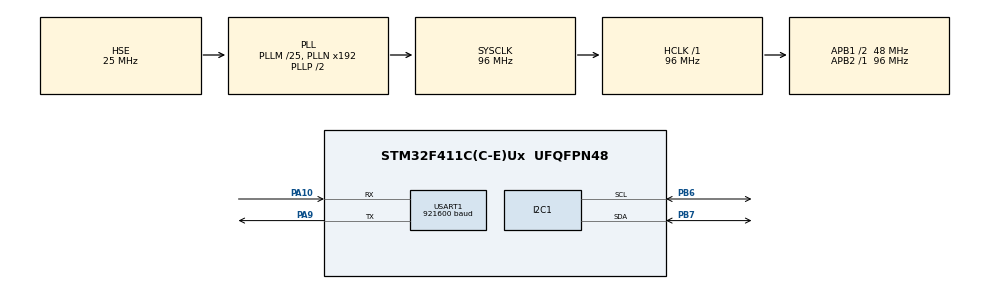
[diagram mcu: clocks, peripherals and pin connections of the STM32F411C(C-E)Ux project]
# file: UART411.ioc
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I2C1.I2C_Mode=I2C_Fast
Mcu.Family=STM32F4
Mcu.Name=STM32F411C(C-E)Ux
Mcu.Package=UFQFPN48
NVIC.PriorityGroup=NVIC_PRIORITYGROUP_4
PA10.Mode=Asynchronous
PA10.Signal=USART1_RX
PA13.Mode=Serial_Wire
PA13.Signal=SYS_JTMS-SWDIO
PA14.Mode=Serial_Wire
PA14.Signal=SYS_JTCK-SWCLK
PA9.Mode=Asynchronous
PA9.Signal=USART1_TX
PB6.Mode=I2C
PB6.Signal=I2C1_SCL
PB7.Mode=I2C
PB7.Signal=I2C1_SDA
PC14-OSC32_IN.Mode=LSE-External-Oscillator
PC14-OSC32_IN.Signal=RCC_OSC32_IN
PC15-OSC32_OUT.Mode=LSE-External-Oscillator
PC15-OSC32_OUT.Signal=RCC_OSC32_OUT
PH0\ -\ OSC_IN.Mode=HSE-External-Oscillator
PH0\ -\ OSC_IN.Signal=RCC_OSC_IN
PH1\ -\ OSC_OUT.Mode=HSE-External-Oscillator
PH1\ -\ OSC_OUT.Signal=RCC_OSC_OUT
ProjectManager.HeapSize=0x200
ProjectManager.StackSize=0x400
ProjectManager.TargetToolchain=MDK-ARM V5.27
RCC.48MHZClocksFreq_Value=48000000
RCC.AHBFreq_Value=96000000
RCC.APB1CLKDivider=RCC_HCLK_DIV2
RCC.APB1Freq_Value=48000000
RCC.APB1TimFreq_Value=96000000
RCC.APB2Freq_Value=96000000
RCC.APB2TimFreq_Value=96000000
RCC.CortexFreq_Value=96000000
RCC.HCLKFreq_Value=96000000
RCC.HSE_VALUE=25000000
RCC.HSI_VALUE=16000000
RCC.PLLM=25
RCC.PLLSourceVirtual=RCC_PLLSOURCE_HSE
RCC.SYSCLKFreq_VALUE=96000000
RCC.SYSCLKSource=RCC_SYSCLKSOURCE_PLLCLK
RCC.VCOOutputFreq_Value=192000000
USART1.BaudRate=921600
USART1.VirtualMode=VM_ASYNC
board=custom

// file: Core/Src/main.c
/* USER CODE BEGIN Header */
/**
  ******************************************************************************
  * @file           : main.c
  * @brief          : Main program body
  ******************************************************************************
  * @attention
  *
  * Copyright (c) 2023 STMicroelectronics.
  * All rights reserved.
  *
  * This software is licensed under terms that can be found in the LICENSE file
  * in the root directory of this software component.
  * If no LICENSE file comes with this software, it is provided AS-IS.
  *
  ******************************************************************************
  */
/* USER CODE END Header */
#include "main.h"
#include "i2c.h"
#include "usart.h"
#include "gpio.h"

/* USER CODE BEGIN Includes */
#include "math.h"
#include <stdio.h>
/* USER CODE END Includes */

/* USER CODE BEGIN PD */

#define MPU9250Addr 	0xD0// I2C address of the MPU-9250; 0x68 or 0x69 based on the AD0 pin
#define WHO_AM_I        0x75  // Should return 0x71
#define PWR_MGMT_1      0x6B
#define CONFIG          0x1A
#define GYRO_CONFIG     0x1B
#define ACCEL_CONFIG    0x1C
#define AK8963_ADDRESS 0x0C   //magnetometer
/* USER CODE END PD */

/* USER CODE BEGIN PV */

uint8_t accel_gyro_data[14];
uint8_t mag_data[6];
int16_t mag_min[3] = {INT16_MAX, INT16_MAX, INT16_MAX};
int16_t mag_max[3] = {INT16_MIN, INT16_MIN, INT16_MIN};

float pitch = 0, roll = 0, yaw = 0;
float p0 = 1.0f, p1 = 0.0f, p2 = 0.0f, p3 = 0.0f, p4 = 0.0f;
float accel_weight = 0.98f;
float gyro_weight = 0.02f;
/* USER CODE END PV */

void SystemClock_Config(void);

/* USER CODE BEGIN 0 */

uint8_t MPU9250_WriteByte(uint8_t reg,uint8_t data)
{
	if(HALIIC_WriteByteToSlave(MPU9250Addr,reg,data))
		return 1;
	else
		return 0;
}

uint8_t MPU9250_ReadByte(uint8_t reg,uint8_t *buf)
{
	if(HALIIC_ReadByteFromSlave(MPU9250Addr,reg,buf))
		return 1;
	else
		return 0;
}
uint8_t MPU9250_WriteMultBytes(uint8_t reg,uint8_t len,uint8_t *buf)
{
	if(HALIIC_WriteMultByteToSlave(MPU9250Addr,reg,len,buf))
		return 1;
	else
		return 0;
}

uint8_t MPU9250_ReadMultBytes(uint8_t reg,uint8_t len,uint8_t *buf)
{
	if(HALIIC_ReadMultByteFromSlave(MPU9250Addr,reg,len,buf))
		return 1;
	else
		return 0;
}

#define MPU9250_RA_INT_ENABLE       0x38
#define MPU9250_RA_PWR_MGMT_1       0x6B
#define MPU9250_RA_GYRO_CONFIG      0x1B
#define MPU9250_RA_ACCEL_CONFIG     0x1C
#define MPU9250_RA_CONFIG           0x1A
#define MPU9250_RA_SMPLRT_DIV       0x19
#define MPU9250_RA_INT_PIN_CFG      0x37

#define MPU9250_DLPF_BW_256         0x00
#define MPU9250_DLPF_BW_188         0x01
#define MPU9250_DLPF_BW_98          0x02
#define MPU9250_DLPF_BW_42          0x03
#define MPU9250_DLPF_BW_20          0x04
#define MPU9250_DLPF_BW_10          0x05
#define MPU9250_DLPF_BW_5           0x06

void MPU9250_Init(void)
{
	MPU9250_WriteByte(MPU9250_RA_PWR_MGMT_1, 0x80);//Reset
	HAL_Delay(100);
	MPU9250_WriteByte(MPU9250_RA_PWR_MGMT_1, 0x00);
	MPU9250_WriteByte(MPU9250_RA_INT_ENABLE, 0x00);
	MPU9250_WriteByte(MPU9250_RA_GYRO_CONFIG, 0x18);// Set gyro full scale to 2000 dps
	MPU9250_WriteByte(MPU9250_RA_ACCEL_CONFIG, 0x18);// Set accelerometer full scale to 16g
	MPU9250_WriteByte(MPU9250_RA_CONFIG, MPU9250_DLPF_BW_20);
	MPU9250_WriteByte(MPU9250_RA_SMPLRT_DIV, 0x09); // Set frequence to 100Hz
	MPU9250_WriteByte(MPU9250_RA_INT_PIN_CFG, 0x02);
}

#define MPU9250_RA_ACCEL_XOUT_H     0x3B

#define MPU9250_RA_TEMP_OUT_H       0x41

#define MPU9250_RA_GYRO_XOUT_H      0x43

#define AK8963_ADDR			0X0C
#define AK8963_ID			0X48
#define MAG_WIA				0x00
#define MAG_XOUT_L			0X03

void MPU9250_AccRead(int16_t *accData)
{
    uint8_t buf[6];
   	uint8_t re = MPU9250_ReadMultBytes(MPU9250_RA_ACCEL_XOUT_H,6,buf);
		if(re != HAL_OK){
			printf("Wait MPU9250\n");
		}
    accData[0] = (int16_t)((buf[0] << 8) | buf[1]);
    accData[1] = (int16_t)((buf[2] << 8) | buf[3]);
    accData[2] = (int16_t)((buf[4] << 8) | buf[5]);
}

void MPU9250_GyroRead(int16_t *gyroData)
{
    uint8_t buf[6];
	  uint8_t re = MPU9250_ReadMultBytes(MPU9250_RA_GYRO_XOUT_H, 6, buf);
		if(re != HAL_OK){
			printf("Wait MPU9250\n");
		}
    gyroData[0] = (int16_t)((buf[0] << 8) | buf[1]) ;
    gyroData[1] = (int16_t)((buf[2] << 8) | buf[3]) ;
    gyroData[2] = (int16_t)((buf[4] << 8) | buf[5]) ;
}

void MPU9250_MagRead(int16_t *magData)
{
    uint8_t buf[6];
    HALIIC_WriteByteToSlave(MPU9250Addr,0x37,0x02);//turn on Bypass Mode
    HAL_Delay(10);
    HALIIC_WriteByteToSlave(AK8963_ADDRESS,0x0A,0x11);
    HAL_Delay(10);

    uint8_t re = HALIIC_ReadMultByteFromSlave(AK8963_ADDRESS,MAG_XOUT_L, 6, buf);
    magData[0] = (int16_t)((buf[1] << 8) | buf[0]) ;
    magData[1] = (int16_t)((buf[3] << 8) | buf[2]) ;
    magData[2] = (int16_t)((buf[5] << 8) | buf[4]) ;
		HALIIC_WriteByteToSlave(AK8963_ADDR,0x0A,0X11);
}

/* USER CODE END 0 */

int main(void)
{

  /* MCU Configuration--------------------------------------------------------*/

  /* Reset of all peripherals, Initializes the Flash interface and the Systick. */
  HAL_Init();

  /* Configure the system clock */
  SystemClock_Config();

  /* Initialize all configured peripherals */
  MX_GPIO_Init();
  MX_USART1_UART_Init();
  MX_I2C1_Init();
  /* USER CODE BEGIN 2 */

	MPU9250_Init();
	printf("MPU9250_Init Ok\n");
  int16_t acc[3],gyy[3],mag[3];
  /* USER CODE END 2 */

  /* Infinite loop */
  while (1)
  {

    /* USER CODE BEGIN 3 */
		MPU9250_AccRead(acc);
		MPU9250_GyroRead(gyy);
		MPU9250_MagRead(mag);
    printf("a1 %d\n",acc[0]);
		printf("a2 %d\n",acc[1]);
		printf("a3 %d\n",acc[2]);
		printf("g1 %d\n",gyy[0]);
		printf("g2 %d\n",gyy[1]);
		printf("g3 %d\n",gyy[2]);
		printf("m1 %d\n",mag[0]);
		printf("m2 %d\n",mag[1]);
		printf("m3 %d\n",mag[2]);
		//complementary_filter();
  }
  /* USER CODE END 3 */
}

void SystemClock_Config(void)
{
  RCC_OscInitTypeDef RCC_OscInitStruct = {0};
  RCC_ClkInitTypeDef RCC_ClkInitStruct = {0};

  /** Configure the main internal regulator output voltage
  */
  __HAL_RCC_PWR_CLK_ENABLE();
  __HAL_PWR_VOLTAGESCALING_CONFIG(PWR_REGULATOR_VOLTAGE_SCALE1);

  /** Initializes the RCC Oscillators according to the specified parameters
  * in the RCC_OscInitTypeDef structure.
  */
  RCC_OscInitStruct.OscillatorType = RCC_OSCILLATORTYPE_HSE;
  RCC_OscInitStruct.HSEState = RCC_HSE_ON;
  RCC_OscInitStruct.PLL.PLLState = RCC_PLL_ON;
  RCC_OscInitStruct.PLL.PLLSource = RCC_PLLSOURCE_HSE;
  RCC_OscInitStruct.PLL.PLLM = 25;
  RCC_OscInitStruct.PLL.PLLN = 192;
  RCC_OscInitStruct.PLL.PLLP = RCC_PLLP_DIV2;
  RCC_OscInitStruct.PLL.PLLQ = 4;
  if (HAL_RCC_OscConfig(&RCC_OscInitStruct) != HAL_OK)
  {
    Error_Handler();
  }

  /** Initializes the CPU, AHB and APB buses clocks
  */
  RCC_ClkInitStruct.ClockType = RCC_CLOCKTYPE_HCLK|RCC_CLOCKTYPE_SYSCLK
                              |RCC_CLOCKTYPE_PCLK1|RCC_CLOCKTYPE_PCLK2;
  RCC_ClkInitStruct.SYSCLKSource = RCC_SYSCLKSOURCE_PLLCLK;
  RCC_ClkInitStruct.AHBCLKDivider = RCC_SYSCLK_DIV1;
  RCC_ClkInitStruct.APB1CLKDivider = RCC_HCLK_DIV2;
  RCC_ClkInitStruct.APB2CLKDivider = RCC_HCLK_DIV1;

  if (HAL_RCC_ClockConfig(&RCC_ClkInitStruct, FLASH_LATENCY_3) != HAL_OK)
  {
    Error_Handler();
  }
}

void Error_Handler(void)
{
  __disable_irq();
  while (1)
  {
  }
}
